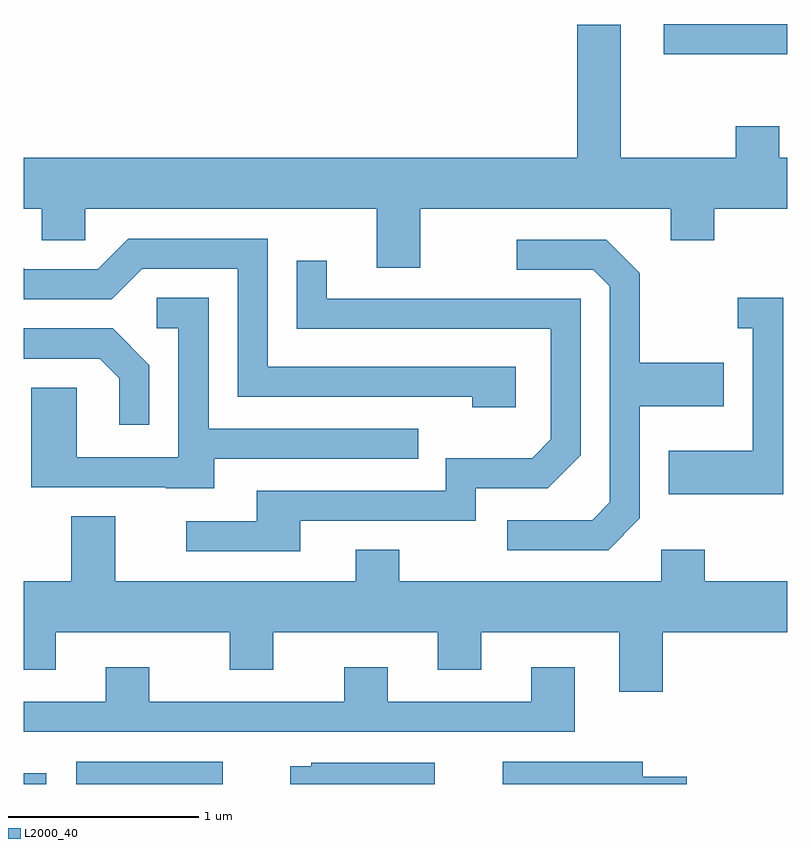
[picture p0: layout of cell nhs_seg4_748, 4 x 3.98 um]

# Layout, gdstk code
import gdstk
lib = gdstk.Library(unit=1e-6, precision=1e-09)
def R(c, l, rs):  # rectangles x0, y0, x1, y1
    for r in rs: c.add(gdstk.rectangle(r[:2], r[2:], *l))
def P(c, l, *ps):  # polygons
    for p in ps: c.add(gdstk.Polygon(p, *l))
L2000_40 = (2000, 40)

nhs_seg4_748 = lib.new_cell('nhs_seg4_748')
R(nhs_seg4_748, L2000_40, [(207.611,1253.982,207.729,1254.039), (207.886,1253.982,208.654,1254.099), (210.963,1257.806,211.611,1257.964)])
P(nhs_seg4_748, L2000_40, [(209.689,1256.996),(211.001,1256.996),(211.001,1256.831),(211.229,1256.831),(211.229,1256.996),(211.611,1256.996),(211.611,1257.264),(211.569,1257.264),(211.569,1257.429),(211.341,1257.429),(211.341,1257.264),(210.739,1257.264),(210.739,1257.959),(210.511,1257.959),(210.511,1257.264),(207.611,1257.264),(207.611,1256.996),(207.706,1256.996),(207.706,1256.831),(207.934,1256.831),(207.934,1256.996),(209.461,1256.996),(209.461,1256.686),(209.689,1256.686)],
  [(210.189,1256.169),(208.889,1256.169),(208.889,1256.839),(208.159,1256.839),(207.999,1256.679),(207.617,1256.679),(207.611,1256.685),(207.611,1256.521),(208.072,1256.521),(208.232,1256.681),(208.731,1256.681),(208.731,1256.011),(209.961,1256.011),(209.961,1255.956),(210.189,1255.956)],
  [(210.839,1255.374),(210.839,1255.961),(211.279,1255.961),(211.279,1256.189),(210.839,1256.189),(210.839,1256.657),(210.662,1256.834),(210.193,1256.834),(210.193,1256.676),(210.594,1256.676),(210.681,1256.589),(210.681,1255.457),(210.589,1255.364),(210.143,1255.364),(210.143,1255.206),(210.672,1255.206)],
  [(209.059,1255.361),(209.979,1255.361),(209.979,1255.531),(210.357,1255.531),(210.529,1255.704),(210.529,1256.524),(209.199,1256.524),(209.199,1256.723),(209.041,1256.723),(209.041,1256.366),(210.371,1256.366),(210.371,1255.787),(210.274,1255.689),(209.821,1255.689),(209.821,1255.519),(208.831,1255.519),(208.831,1255.359),(208.463,1255.359),(208.463,1255.201),(209.059,1255.201)],
  [(211.589,1256.529),(211.353,1256.529),(211.353,1256.371),(211.431,1256.371),(211.431,1255.729),(210.991,1255.729),(210.991,1255.501),(211.589,1255.501)],
  [(208.609,1255.686),(209.678,1255.686),(209.678,1255.844),(208.579,1255.844),(208.579,1256.529),(208.308,1256.529),(208.308,1256.371),(208.421,1256.371),(208.421,1255.694),(207.889,1255.694),(207.889,1256.059),(207.651,1256.059),(207.651,1255.536),(208.355,1255.536),(208.355,1255.531),(208.609,1255.531)],
  [(208.269,1256.177),(208.077,1256.369),(207.611,1256.369),(207.611,1256.211),(208.009,1256.211),(208.111,1256.109),(208.111,1255.863),(208.269,1255.863)],
  [(210.959,1254.776),(211.611,1254.776),(211.611,1255.044),(211.179,1255.044),(211.179,1255.209),(210.951,1255.209),(210.951,1255.044),(209.579,1255.044),(209.579,1255.209),(209.351,1255.209),(209.351,1255.044),(208.089,1255.044),(208.089,1255.384),(207.861,1255.384),(207.861,1255.044),(207.611,1255.044),(207.611,1254.581),(207.779,1254.581),(207.779,1254.776),(208.691,1254.776),(208.691,1254.581),(208.919,1254.581),(208.919,1254.776),(209.781,1254.776),(209.781,1254.581),(210.009,1254.581),(210.009,1254.776),(210.731,1254.776),(210.731,1254.466),(210.959,1254.466)],
  [(210.499,1254.594),(210.271,1254.594),(210.271,1254.414),(209.519,1254.414),(209.519,1254.594),(209.291,1254.594),(209.291,1254.414),(208.269,1254.414),(208.269,1254.594),(208.041,1254.594),(208.041,1254.414),(207.611,1254.414),(207.611,1254.256),(210.499,1254.256)],
  [(211.084,1254.019),(210.854,1254.019),(210.854,1254.099),(210.121,1254.099),(210.121,1253.982),(211.084,1253.982)],
  [(209.764,1254.094),(209.116,1254.094),(209.116,1254.074),(209.006,1254.074),(209.006,1253.982),(209.764,1253.982)])

lib.write_gds('nhs_seg4_748.gds')
